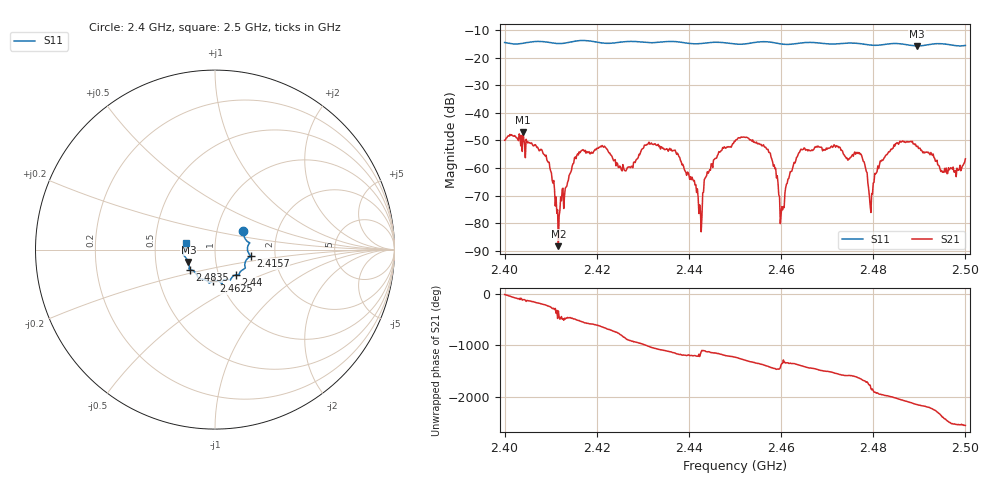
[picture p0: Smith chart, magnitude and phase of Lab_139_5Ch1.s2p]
# Hz S RI R 50
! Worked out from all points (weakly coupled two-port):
!   601 points, 2.4 GHz to 2.5 GHz, reference 50 ohm
!   highest |S21| = -46.88 dB at 2.404 GHz (marker M1); lowest = -88.3 dB at 2.4117 GHz (marker M2)
!   lowest |S11| = -15.7 dB at 2.4895 GHz (marker M3), VSWR 1.39, Z = 36.8 - j5.17 ohm
!   |S11| at or under -10 dB: start of sweep to end of sweep
!   S12 and S22 are empty: the file has one direction only
!   S11 on the Smith chart (normalised r, x): 2.4 GHz: 1.34, +0.29; 2.4157 GHz: 1.49, -0.11; 2.44 GHz: 1.21, -0.35; 2.4625 GHz: 0.92, -0.34; 2.4835 GHz: 0.74, -0.17; 2.5 GHz: 0.72, +0.05
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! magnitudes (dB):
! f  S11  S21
! 2.4 GHz  -14.5  -49.9
! 2.404 GHz  -14.7  -46.9
! 2.4092 GHz  -14.3  -57.0
! 2.4117 GHz  -14.9  -88.3
! 2.4157 GHz  -13.9  -55.4
! 2.4167 GHz  -13.8  -53.7
! 2.4258 GHz  -14.2  -60.1
! 2.4333 GHz  -14.4  -51.4
! 2.44 GHz  -14.8  -62.5
! 2.4425 GHz  -14.9  -75.8
! 2.4453 GHz  -14.4  -57.1
! 2.45 GHz  -15.0  -50.4
! 2.4572 GHz  -14.2  -53.2
! 2.4602 GHz  -15.1  -74.0
! 2.4625 GHz  -15.0  -60.0
! 2.4667 GHz  -14.5  -53.4
! 2.477 GHz  -14.9  -54.4
! 2.4795 GHz  -15.4  -76.1
! 2.4833 GHz  -15.0  -54.1
! 2.4835 GHz  -15.0  -54.1
! 2.4895 GHz  -15.7  -52.2
! 2.5 GHz  -15.6  -56.7
